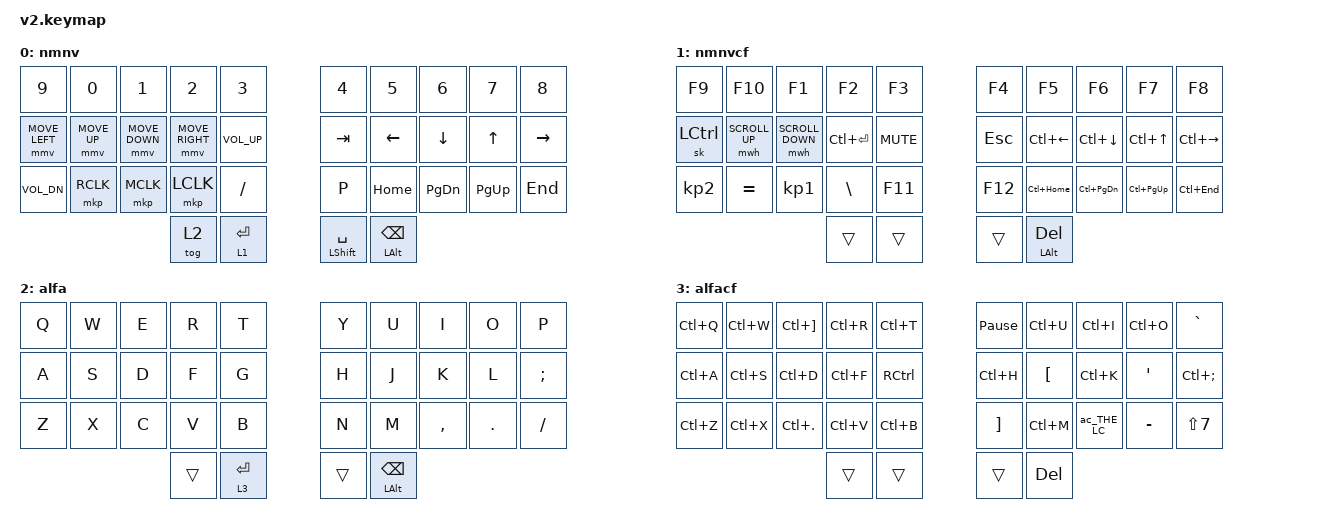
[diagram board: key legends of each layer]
/*
 * Copyright (c) 2021 The ZMK Contributors
 *
 * SPDX-License-Identifier: MIT
 */

#include <behaviors.dtsi>
#include <dt-bindings/zmk/keys.h>
#include <dt-bindings/zmk/mouse.h>
#define nmnv 0
#define nmnvcf 1
#define alfa 2
#define alfacf 3

&mmv {    
        time-to-max-speed-ms = <400>;
        acceleration-exponent=<1>;
};
&mwh {    
        time-to-max-speed-ms = <1000>;
        acceleration-exponent=<0>;
}; 

&mt {
        quick-tap-ms = <200>;
};

&sk {
   	release-after-ms = <4000>;
};

/ {

macros {
        ac_THE_LC: ac_THE_LC {
        label = "ZM_ac_THE_LC";
        compatible = "zmk,behavior-macro";
        #binding-cells = <0>;
        wait-ms = <5>;
        tap-ms = <5>;
        bindings
        = <&macro_tap &kp D>
        , <&macro_release &kp LSHFT>
        , <&macro_tap &kp J &kp L &kp SPACE>
        ;
      };
        ac_BRAK_LC: ac_BRAK_LC {
        label = "ZM_ac_BRAK_LC";
        compatible = "zmk,behavior-macro";
        #binding-cells = <0>;
        wait-ms = <5>;
        tap-ms = <5>;
        bindings
        = <&macro_tap &kp KP_LPAR &kp KP_RPAR &kp LEFT>
        ;
      };
        ac_SEN_LC: ac_SEN_LC {
        label = "ZM_ac_SEN_LC";
        compatible = "zmk,behavior-macro";
        #binding-cells = <0>;
        wait-ms = <5>;
        tap-ms = <5>;
        bindings
        = <&macro_tap &kp SLASH &kp SPACE &sk LSHIFT>
        ;
    };
};

	keymap {
		compatible = "zmk,keymap";

		nmnv {
			bindings = <
			&kp N9         &kp N0       &kp N1         &kp N2          &kp N3         &kp N4    &kp N5   &kp N6    &kp N7    &kp N8
			&mmv MOVE_LEFT &mmv MOVE_UP &mmv MOVE_DOWN &mmv MOVE_RIGHT &kp C_VOL_UP   &kp TAB   &kp LEFT &kp DOWN  &kp UP    &kp RIGHT      
			&kp C_VOL_DN   &mkp RCLK    &mkp MCLK      &mkp LCLK       &kp SLASH      &kp P     &kp HOME &kp PG_DN &kp PG_UP &kp END   
				                                             &tog 2 &lt 1 ENTER   &mt LSHIFT SPACE &mt LALT BSPC
			>;
		};
		nmnvcf {
			bindings = <
			&kp F9     &kp F10        &kp F1           &kp F2        &kp F3       &kp F4     &kp F5       &kp F6        &kp F7        &kp F8
			&sk LCTRL  &mwh SCROLL_UP &mwh SCROLL_DOWN &kp LC(ENTER) &kp C_MUTE   &kp ESC    &kp LC(LEFT) &kp LC(DOWN)  &kp LC(UP)    &kp LC(RIGHT) 
			&kp KP_N2  &kp EQUAL      &kp KP_N1        &kp BSLH      &kp F11      &kp F12    &kp LC(HOME) &kp LC(PG_DN) &kp LC(PG_UP) &kp LC(END)
				                                          &trans    &trans    &trans  &mt LALT DEL
			>;
		};
		alfa {
			bindings = <
			&kp Q     &kp W     &kp E     &kp R     &kp T     &kp Y     &kp U     &kp I     &kp O     &kp P
			&kp A     &kp S     &kp D     &kp F     &kp G     &kp H     &kp J     &kp K     &kp L     &kp SEMI
			&kp Z     &kp X     &kp C     &kp V     &kp B     &kp N     &kp M     &kp COMMA &kp DOT   &kp SLASH
				                 &trans   &lt 3 ENTER     &trans  &mt LALT BSPC
			>;
		};
		alfacf {
			bindings = <
			&kp LC(Q) &kp LC(W) &kp LC(RBKT) &kp LC(R) &kp LC(T)      &kp PAUSE_BREAK &kp LC(U) &kp LC(I)  &kp LC(O)  &kp GRAVE
			&kp LC(A) &kp LC(S) &kp LC(D)    &kp LC(F) &kp RCTRL      &kp LC(H)       &kp LBKT  &kp LC(K)  &kp SQT    &kp LC(SEMI)
			&kp LC(Z) &kp LC(X) &kp LC(DOT)  &kp LC(V) &kp LC(B)      &kp RBKT        &kp LC(M) &ac_THE_LC &kp MINUS  &kp LS(N7)
				                            &trans   &trans    &trans  &kp DEL
			>;
		};

	};
};
